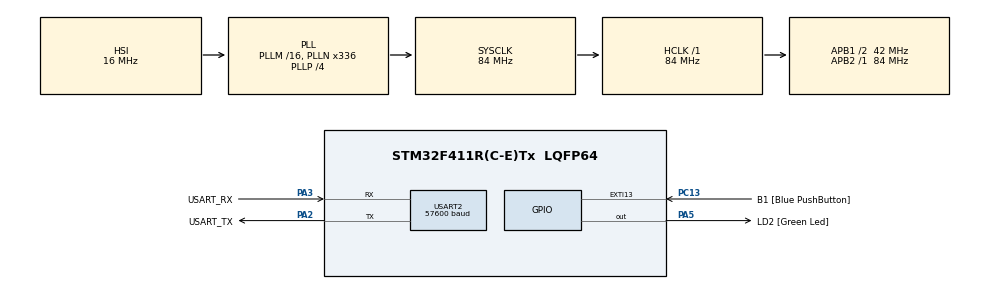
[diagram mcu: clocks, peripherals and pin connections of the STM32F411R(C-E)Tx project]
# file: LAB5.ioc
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Mcu.Family=STM32F4
Mcu.Name=STM32F411R(C-E)Tx
Mcu.Package=LQFP64
NVIC.EXTI15_10_IRQn=true\:0\:0\:false\:false\:true\:true\:true\:true
NVIC.PriorityGroup=NVIC_PRIORITYGROUP_0
NVIC.USART2_IRQn=true\:0\:0\:false\:false\:true\:true\:true\:true
PA13.GPIO_Label=TMS
PA13.Mode=Serial_Wire
PA13.Signal=SYS_JTMS-SWDIO
PA14.GPIO_Label=TCK
PA14.Mode=Serial_Wire
PA14.Signal=SYS_JTCK-SWCLK
PA2.GPIO_Label=USART_TX
PA2.Mode=Asynchronous
PA2.Signal=USART2_TX
PA3.GPIO_Label=USART_RX
PA3.Mode=Asynchronous
PA3.Signal=USART2_RX
PA5.GPIO_Label=LD2 [Green Led]
PA5.Signal=GPIO_Output
PB3.GPIO_Label=SWO
PB3.Signal=SYS_JTDO-SWO
PC13-ANTI_TAMP.GPIO_Label=B1 [Blue PushButton]
PC13-ANTI_TAMP.GPIO_ModeDefaultEXTI=GPIO_MODE_IT_RISING_FALLING
PC13-ANTI_TAMP.Signal=GPXTI13
PC14-OSC32_IN.Mode=LSE-External-Oscillator
PC14-OSC32_IN.Signal=RCC_OSC32_IN
PC15-OSC32_OUT.Mode=LSE-External-Oscillator
PC15-OSC32_OUT.Signal=RCC_OSC32_OUT
PH0\ -\ OSC_IN.Mode=HSE-External-Clock-Source
PH0\ -\ OSC_IN.Signal=RCC_OSC_IN
PH1\ -\ OSC_OUT.Mode=HSE-External-Clock-Source
PH1\ -\ OSC_OUT.Signal=RCC_OSC_OUT
ProjectManager.HeapSize=0x200
ProjectManager.StackSize=0x400
ProjectManager.TargetToolchain=STM32CubeIDE
RCC.48MHZClocksFreq_Value=84000000
RCC.AHBFreq_Value=84000000
RCC.APB1CLKDivider=RCC_HCLK_DIV2
RCC.APB1Freq_Value=42000000
RCC.APB1TimFreq_Value=84000000
RCC.APB2Freq_Value=84000000
RCC.APB2TimFreq_Value=84000000
RCC.CortexFreq_Value=84000000
RCC.FLatency-AdvancedSettings=FLASH_LATENCY_2
RCC.HCLKFreq_Value=84000000
RCC.HSE_VALUE=8000000
RCC.HSI_VALUE=16000000
RCC.PLLN=336
RCC.PLLP=RCC_PLLP_DIV4
RCC.SYSCLKFreq_VALUE=84000000
RCC.SYSCLKSource=RCC_SYSCLKSOURCE_PLLCLK
RCC.VCOOutputFreq_Value=336000000
USART2.BaudRate=57600
USART2.VirtualMode=VM_ASYNC
board=NUCLEO-F411RE

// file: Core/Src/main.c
/* USER CODE BEGIN Header */
/**
  ******************************************************************************
  * @file           : main.c
  * @brief          : Main program body
  ******************************************************************************
  * @attention
  *
  * Copyright (c) 2023 STMicroelectronics.
  * All rights reserved.
  *
  * This software is licensed under terms that can be found in the LICENSE file
  * in the root directory of this software component.
  * If no LICENSE file comes with this software, it is provided AS-IS.
  *
  ******************************************************************************
  */
/* USER CODE END Header */
#include "main.h"

/* USER CODE BEGIN Includes */
#include "stdio.h"
/* USER CODE END Includes */

UART_HandleTypeDef huart2;

/* USER CODE BEGIN PV */
uint8_t RxBuffer[20];
uint8_t TxBuffer[40];
uint8_t UI[500];
uint8_t CheckLedMenu=0;
uint8_t LED_On = 1;
uint8_t Hz=1;
uint8_t press=0;
uint8_t OK = 0;
/* USER CODE END PV */

void SystemClock_Config(void);
static void MX_GPIO_Init(void);
static void MX_USART2_UART_Init(void);
/* USER CODE BEGIN PFP */
void DummyTask();
void UARTInterruptConfig();
/* USER CODE END PFP */

int main(void)
{

  /* MCU Configuration--------------------------------------------------------*/

  /* Reset of all peripherals, Initializes the Flash interface and the Systick. */
  HAL_Init();

  /* Configure the system clock */
  SystemClock_Config();

  /* Initialize all configured peripherals */
  MX_GPIO_Init();
  MX_USART2_UART_Init();
  /* USER CODE BEGIN 2 */
  UARTInterruptConfig();
  sprintf((char*)UI,"\r\n------------- Welcome to main menu ------------\r\n\n"
		  "**Please enter information to select a function.**\r\n"
		  "Select 0 To LED Control\r\n"
		  "Select 1 To Button Status\r\n"
		  "==============================================\r\n"
		  "Enter you select this one : \r\n");
  HAL_UART_Transmit_IT(&huart2, UI, strlen((char*)UI));
  /* USER CODE END 2 */

  /* Infinite loop */
  /* USER CODE BEGIN WHILE */
  while (1)
  {
	  static uint32_t timestamp =0;
	  if(HAL_GetTick()>timestamp &&LED_On==1){
		  HAL_GPIO_TogglePin(GPIOA,GPIO_PIN_5);
		  timestamp = HAL_GetTick()+500/Hz; //500ms=1Hz
	  }
	  else if (LED_On==0){
		  HAL_GPIO_WritePin(GPIOA, GPIO_PIN_5, 0);
	  }
    /* USER CODE END WHILE */

  }
}

void SystemClock_Config(void)
{
  RCC_OscInitTypeDef RCC_OscInitStruct = {0};
  RCC_ClkInitTypeDef RCC_ClkInitStruct = {0};

  /** Configure the main internal regulator output voltage
  */
  __HAL_RCC_PWR_CLK_ENABLE();
  __HAL_PWR_VOLTAGESCALING_CONFIG(PWR_REGULATOR_VOLTAGE_SCALE1);

  /** Initializes the RCC Oscillators according to the specified parameters
  * in the RCC_OscInitTypeDef structure.
  */
  RCC_OscInitStruct.OscillatorType = RCC_OSCILLATORTYPE_HSI;
  RCC_OscInitStruct.HSIState = RCC_HSI_ON;
  RCC_OscInitStruct.HSICalibrationValue = RCC_HSICALIBRATION_DEFAULT;
  RCC_OscInitStruct.PLL.PLLState = RCC_PLL_ON;
  RCC_OscInitStruct.PLL.PLLSource = RCC_PLLSOURCE_HSI;
  RCC_OscInitStruct.PLL.PLLM = 16;
  RCC_OscInitStruct.PLL.PLLN = 336;
  RCC_OscInitStruct.PLL.PLLP = RCC_PLLP_DIV4;
  RCC_OscInitStruct.PLL.PLLQ = 4;
  if (HAL_RCC_OscConfig(&RCC_OscInitStruct) != HAL_OK)
  {
    Error_Handler();
  }

  /** Initializes the CPU, AHB and APB buses clocks
  */
  RCC_ClkInitStruct.ClockType = RCC_CLOCKTYPE_HCLK|RCC_CLOCKTYPE_SYSCLK
                              |RCC_CLOCKTYPE_PCLK1|RCC_CLOCKTYPE_PCLK2;
  RCC_ClkInitStruct.SYSCLKSource = RCC_SYSCLKSOURCE_PLLCLK;
  RCC_ClkInitStruct.AHBCLKDivider = RCC_SYSCLK_DIV1;
  RCC_ClkInitStruct.APB1CLKDivider = RCC_HCLK_DIV2;
  RCC_ClkInitStruct.APB2CLKDivider = RCC_HCLK_DIV1;

  if (HAL_RCC_ClockConfig(&RCC_ClkInitStruct, FLASH_LATENCY_2) != HAL_OK)
  {
    Error_Handler();
  }
}

static void MX_USART2_UART_Init(void)
{

  huart2.Instance = USART2;
  huart2.Init.BaudRate = 57600;
  huart2.Init.WordLength = UART_WORDLENGTH_8B;
  huart2.Init.StopBits = UART_STOPBITS_1;
  huart2.Init.Parity = UART_PARITY_NONE;
  huart2.Init.Mode = UART_MODE_TX_RX;
  huart2.Init.HwFlowCtl = UART_HWCONTROL_NONE;
  huart2.Init.OverSampling = UART_OVERSAMPLING_16;
  if (HAL_UART_Init(&huart2) != HAL_OK)
  {
    Error_Handler();
  }

}

static void MX_GPIO_Init(void)
{
  GPIO_InitTypeDef GPIO_InitStruct = {0};

  /* GPIO Ports Clock Enable */
  __HAL_RCC_GPIOC_CLK_ENABLE();
  __HAL_RCC_GPIOH_CLK_ENABLE();
  __HAL_RCC_GPIOA_CLK_ENABLE();
  __HAL_RCC_GPIOB_CLK_ENABLE();

  /*Configure GPIO pin Output Level */
  HAL_GPIO_WritePin(LD2_GPIO_Port, LD2_Pin, GPIO_PIN_RESET);

  /*Configure GPIO pin : B1_Pin */
  GPIO_InitStruct.Pin = B1_Pin;
  GPIO_InitStruct.Mode = GPIO_MODE_IT_RISING_FALLING;
  GPIO_InitStruct.Pull = GPIO_NOPULL;
  HAL_GPIO_Init(B1_GPIO_Port, &GPIO_InitStruct);

  /*Configure GPIO pin : LD2_Pin */
  GPIO_InitStruct.Pin = LD2_Pin;
  GPIO_InitStruct.Mode = GPIO_MODE_OUTPUT_PP;
  GPIO_InitStruct.Pull = GPIO_NOPULL;
  GPIO_InitStruct.Speed = GPIO_SPEED_FREQ_LOW;
  HAL_GPIO_Init(LD2_GPIO_Port, &GPIO_InitStruct);

  /* EXTI interrupt init*/
  HAL_NVIC_SetPriority(EXTI15_10_IRQn, 0, 0);
  HAL_NVIC_EnableIRQ(EXTI15_10_IRQn);

}

/* USER CODE BEGIN 4 */
void UARTInterruptConfig(){
	HAL_UART_Receive_IT(&huart2, RxBuffer, 1);
}

void HAL_UART_RxCpltCallback(UART_HandleTypeDef *huart){
	if(huart == &huart2){
		OK = 1;
		if(CheckLedMenu==0 && OK == 1){
		if(RxBuffer[0] == '0'){
			sprintf((char*)TxBuffer,"%s\r\n----------- Welcome to LED Control -----------\r\n\n" //mode led
					"**Please enter information to select a function.**\r\n"
					"Select a To Speed Up +1Hz\r\n"
					"Select s To Speed Down -1Hz\r\n"
					"Select d To On/OFF\r\n"
					"Select x To Back to main menu\r\n"
					"==================================================\r\n"
					"Enter you select this one : ",RxBuffer);
			HAL_UART_Transmit_IT(&huart2, TxBuffer, strlen((char*)TxBuffer));
			CheckLedMenu=1;
			OK = 0;
		}
		else if(RxBuffer[0]=='1'){
					sprintf((char*)TxBuffer,"%s\r\n---------- Welcome to Button Status -----------\r\n\n" //mode button
										"**Please enter information to select a function.**\r\n"
										"Select x To Back to main menu\r\n"
										"Button Status is UNPRESS\r\n"
										"================================================\r\n"
										"Enter you select this one : \r\n\n",RxBuffer);
								HAL_UART_Transmit_IT(&huart2, TxBuffer, strlen((char*)TxBuffer));
								CheckLedMenu=2;
								OK=0;
				}
		else{
			sprintf((char*)UI,"%s\r\n**Please select to choice**\r\n" //check choice to select incorrect
				  "Select 0 To LED Control\r\n"
				  "Select 1 To Button Status\r\n"
				  "=================================================\r\n"
				  "Enter you select this one : \r\n",RxBuffer);
			HAL_UART_Transmit_IT(&huart2, UI, strlen((char*)UI));
			}
		}
		if(CheckLedMenu == 1 && OK == 1){ //check choice menu led

			if(RxBuffer[0] == 'a'){
				Hz=Hz+1;
				sprintf((char*)TxBuffer,"%s\r\nLED Current is %d\r\n"
						"Enter you select this one : "
						,RxBuffer,Hz);
				HAL_UART_Transmit_IT(&huart2, TxBuffer, strlen((char*)TxBuffer));
			}
			else if(RxBuffer[0] == 's'){
				Hz=Hz-1;
				sprintf((char*)TxBuffer,"%s\r\nLED Current is %d\r\n"
						"Enter you select this one : "
						,RxBuffer,Hz);
				HAL_UART_Transmit_IT(&huart2, TxBuffer, strlen((char*)TxBuffer));
			}
			else if(RxBuffer[0] == 'd'){
				if(LED_On==0){
					LED_On=1;
					sprintf((char*)TxBuffer,"%s\r\nLED ON\r\n"
							"Enter you select this one : ",RxBuffer);
					HAL_UART_Transmit_IT(&huart2, TxBuffer, strlen((char*)TxBuffer));
				}
				else if(LED_On==1){
					LED_On=0;
					sprintf((char*)TxBuffer,"%s\r\nLED OFF\r\n"
							"Enter you select this one : ",RxBuffer);
					HAL_UART_Transmit_IT(&huart2, TxBuffer, strlen((char*)TxBuffer));
				}
			}
			else if(RxBuffer[0] == 'x'){
				 sprintf((char*)UI,"%s\r\n-------------- Welcome to main menu -------------\r\n\n"
						  "**Please enter information to select a function.**\r\n"
						  "Select 0 To LED Control\r\n"
						  "Select 1 To Button Status\r\n"
						  "=================================================\r\n"
						  "Enter you select this one : ",RxBuffer);
				  HAL_UART_Transmit_IT(&huart2, UI, strlen((char*)UI));
				  CheckLedMenu=0;
			}
			else{
				sprintf((char*)UI,"%s\r\n**Please select to choice**\r\n" //check choice to select incorrect
						"Select a To Speed Up +1Hz\r\n"
						"Select s To Speed Down -1Hz\r\n"
						"Select d To On/OFF\r\n"
						"Select x To Back to main menu\r\n"
						"==================================================\r\n"
						"Enter you select this one : ",RxBuffer);
				HAL_UART_Transmit_IT(&huart2, UI, strlen((char*)UI));
				}
		}
		if(CheckLedMenu == 2 && OK == 1){
		if(RxBuffer[0] == 'x'){ //check choice button
								 sprintf((char*)UI,"%s\r\n-------------- Welcome to main menu -------------\r\n\n"
										  "**Please enter information to select a function.**\r\n"
										  "Select 0 To LED Control\r\n"
										  "Select 1 To Button Status\r\n"
										  "================================================\r\n"
										  "Enter you select this one : ",RxBuffer);
								  HAL_UART_Transmit_IT(&huart2, UI, strlen((char*)UI));
								  CheckLedMenu=0;
								  OK=0;
							}
		else{
			sprintf((char*)UI,"%s\r\n**Please select to choice**\r\n" //check choice to select incorrect
					"Select x To Back to main menu\r\n"
					"Button Status is UNPRESS\r\n"
					"================================================\r\n"
					"Enter you select this one : ",RxBuffer);
			HAL_UART_Transmit_IT(&huart2, UI, strlen((char*)UI));
					}
		}
		HAL_UART_Receive_IT(&huart2, RxBuffer, 1);
	}
}
void HAL_GPIO_EXTI_Callback(uint16_t GPIO_Pin){ //button ex interrupt
	if(GPIO_Pin == GPIO_PIN_13){
		if(CheckLedMenu == 2)press = press+1;
		if(CheckLedMenu == 2 && press == 1){
			sprintf((char*)TxBuffer,"%s\r\n---------- Welcome to Button Status ----------\r\n\n"
								"**Please enter information to select a function.**\r\n"
								"Select x To Back to main menu\r\n"
								"Button Status is PRESS\r\n"
								"================================================\r\n"
								"Enter you select this one : ",RxBuffer);
						HAL_UART_Transmit_IT(&huart2, TxBuffer, strlen((char*)TxBuffer));
				}
		else if(CheckLedMenu == 2 && press == 2){
			sprintf((char*)TxBuffer,"%s\r\n---------- Welcome to Button Status ----------\r\n\n"
								"**Please enter information to select a function.**\r\n"
								"Select x To Back to main menu\r\n"
								"Button Status is UNPRESS\r\n"
								"================================================\r\n"
								"Enter you select this one : ",RxBuffer);
						HAL_UART_Transmit_IT(&huart2, TxBuffer, strlen((char*)TxBuffer));
			press=0;
		}
	}
}
/* USER CODE END 4 */

void Error_Handler(void)
{
  __disable_irq();
  while (1)
  {
  }
}
